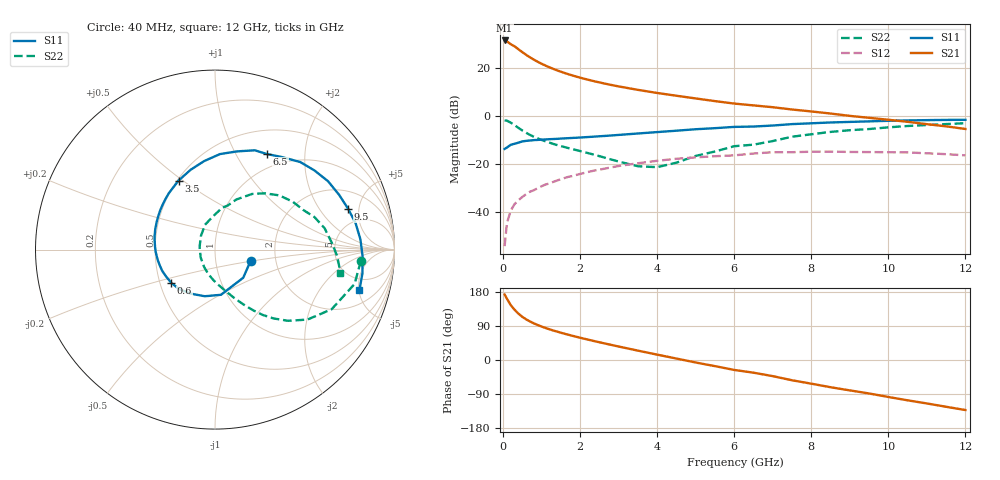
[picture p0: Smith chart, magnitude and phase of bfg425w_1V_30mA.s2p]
! Filename: 130bfg425.001
! BFG425W Field C1
! V1=8.877E-001V,V2=1.000E+000V, I1=4.808E-004A, I2=2.994E-002A
# GHz  S  MA  R 50
!  S11  S21  S12  S22
!Freq(GHz)  Mag  Ang  Mag  Ang  Mag  Ang  Mag  Ang
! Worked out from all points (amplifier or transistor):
!   44 points, 40 MHz to 12 GHz, reference 50 ohm
!   highest |S21| = 31.4 dB at 40 MHz (marker M1)
!   |S21| within 3 dB of that: start of sweep to 345.4 MHz
!   unconditionally stable (mu >= 1): start of sweep to 82.82 MHz; 791.7 MHz to end of sweep
!   at 700 MHz: K = 0.95, MSG = 27.9 dB, |S12| = -31.4 dB
!   at 2.4 GHz: K = 1.23, MAG = 15.5 dB, |S12| = -22.5 dB
!   at 12 GHz: K = 1.40, MAG = 1.7 dB, |S12| = -16.3 dB
!   S11 on the Smith chart (normalised r, x): 40 MHz: 1.48, -0.20; 600 MHz: 0.57, -0.23; 3.5 GHz: 0.51, +0.48; 6.5 GHz: 0.80, +1.35; 9.5 GHz: 3.37, +3.85; 12 GHz: 3.34, -5.05
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0.04  0.208 -18.0  37 172.8  0.002 78.6  0.815 -4.4
0.1  0.222 -44.9  35.44 161.7  0.006 79.1  0.801 -13.8
0.2  0.254 -82.4  30.89 144.6  0.011 71.9  0.73 -27.1
0.3  0.266 -102.3  27.91 132.4  0.015 67.6  0.646 -37.1
0.4  0.281 -119.4  24.27 122.2  0.018 64.5  0.568 -44.3
0.5  0.298 -132.9  21.16 113.8  0.021 62.8  0.502 -49.8
0.6  0.306 -143.0  18.59 107.2  0.024 61.9  0.45 -53.9
0.7  0.311 -151.1  16.48 101.6  0.027 60.7  0.406 -57.3
0.8  0.317 -158.1  14.78 96.6  0.029 60.3  0.372 -60.1
0.9  0.32 -163.9  13.36 92.2  0.032 59.6  0.344 -62.6
1.1  0.327 -173.9  11.15 84.6  0.038 58.2  0.299 -67.1
1.3  0.334 177.9  9.536 77.9  0.043 56.7  0.265 -71.4
1.6  0.345 167.2  7.812 69.2  0.052 53.8  0.227 -77.7
2.2  0.367 149.5  5.682 53.9  0.069 46.8  0.171 -92.7
2.8  0.395 134.1  4.431 40.0  0.086 38.5  0.126 -113.2
3.5  0.435 117.8  3.495 24.7  0.105 27.9  0.091 -151.5
4.5  0.497 97.0  2.639 3.9  0.13 11.9  0.108 137.1
6.5  0.606 61.5  1.664 -33.5  0.167 -17.6  0.255 74.0
8.5  0.736 31.2  1.128 -71.8  0.183 -53.4  0.469 40.1
9.5  0.776 17.0  0.919 -88.3  0.179 -69.1  0.538 24.4
10.5  0.812 4.1  0.76 -106.4  0.176 -86.5  0.622 11.1
12  0.836 -15.8  0.54 -132.0  0.153 -113.8  0.711 -10.5
